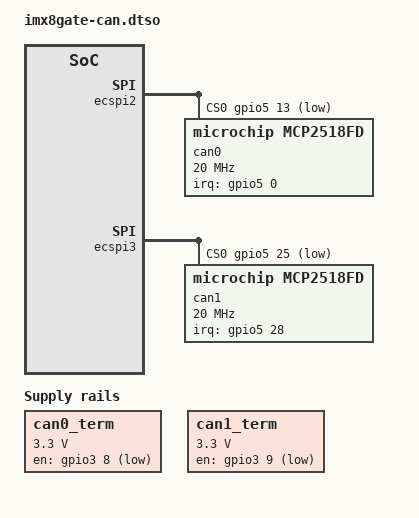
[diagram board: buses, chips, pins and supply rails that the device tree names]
/dts-v1/;
/plugin/;

#include <dt-bindings/gpio/gpio.h>
#include <dt-bindings/interrupt-controller/irq.h>
#include "../freescale/imx8mm-pinfunc.h"

/ {
	fragment@0 {
		target-path = "/";
		__overlay__ {
			regulator-can0term {
				compatible = "regulator-fixed";
				regulator-name = "can0_term";
				regulator-min-microvolt = <3300000>;
				regulator-max-microvolt = <3300000>;
				gpio = <&gpio3 8 GPIO_ACTIVE_LOW>;
				regulator-always-on;
				enable-active-low;
			};

			regulator-can1term {
				compatible = "regulator-fixed";
				regulator-name = "can1_term";
				regulator-min-microvolt = <3300000>;
				regulator-max-microvolt = <3300000>;
				gpio = <&gpio3 9 GPIO_ACTIVE_LOW>;
				regulator-always-on;
				enable-active-low;
			};
		};
	};

	fragment@1 {
		target = <&ecspi2>;
		__overlay__ {
			#address-cells = <1>;
			#size-cells = <0>;
			fsl,spi-num-chipselects = <1>;
			pinctrl-names = "default";
			pinctrl-0 = <&pinctrl_ecspi2_sb_iotgimx8_can &pinctrl_ecspi2_cs_sb_iotgimx8_can>;
			cs-gpios = <&gpio5 13 GPIO_ACTIVE_LOW>;
			status = "okay";

			can0: can@0 {
				compatible = "microchip,mcp2518fd";
				reg = <0>;
				pinctrl-names = "default";
				pinctrl-0 = <&pinctrl_can0_sb_iotgimx8_can>;
				interrupt-parent = <&gpio5>;
				interrupts = <0 IRQ_TYPE_LEVEL_LOW>;
				spi-max-frequency = <20000000>;
				clocks = <&clk40m>;
			};
		};
	};

	fragment@3 {
		target = <&ecspi3>;
		__overlay__ {
			#address-cells = <1>;
			#size-cells = <0>;
			fsl,spi-num-chipselects = <1>;
			pinctrl-names = "default";
			pinctrl-0 = <&pinctrl_ecspi3_sb_iotgimx8_can &pinctrl_ecspi3_cs_sb_iotgimx8_can>;
			cs-gpios = <&gpio5 25 GPIO_ACTIVE_LOW>;
			status = "okay";

			can1: can@0 {
				compatible = "microchip,mcp2518fd";
				reg = <0>;
				pinctrl-names = "default";
				pinctrl-0 = <&pinctrl_can1_sb_iotgimx8_can>;
				interrupt-parent = <&gpio5>;
				interrupts = <28 IRQ_TYPE_LEVEL_LOW>;
				spi-max-frequency = <20000000>;
				clocks = <&clk40m>;
			};
		};
	};
};
